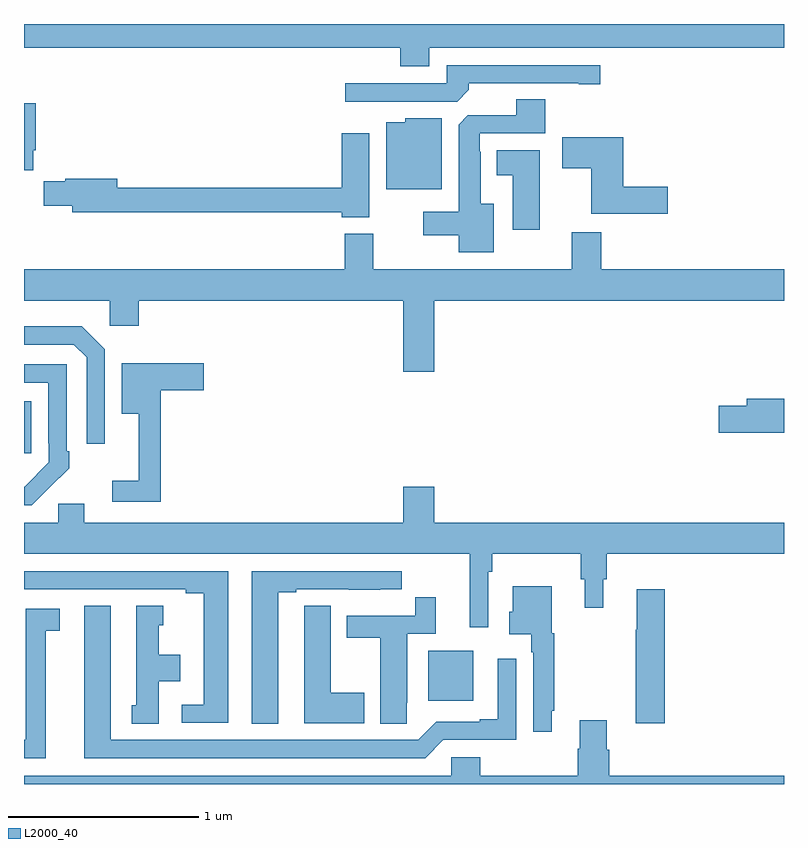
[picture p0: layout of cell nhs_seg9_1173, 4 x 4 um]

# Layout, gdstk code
import gdstk
lib = gdstk.Library(unit=1e-6, precision=1e-09)
def R(c, l, rs):  # rectangles x0, y0, x1, y1
    for r in rs: c.add(gdstk.rectangle(r[:2], r[2:], *l))
def P(c, l, *ps):  # polygons
    for p in ps: c.add(gdstk.Polygon(p, *l))
L2000_40 = (2000, 40)

nhs_seg9_1173 = lib.new_cell('nhs_seg9_1173')
R(nhs_seg9_1173, L2000_40, [(177.128,1236.938,177.364,1237.201), (175,1238.241,175.039,1238.515)])
P(nhs_seg9_1173, L2000_40, [(177.133,1240.376),(179,1240.376),(179,1240.5),(175,1240.5),(175,1240.376),(176.981,1240.376),(176.981,1240.277),(177.133,1240.277)],
  [(177.341,1240.154),(177.341,1240.188),(177.92,1240.188),(177.92,1240.183),(178.033,1240.183),(178.033,1240.284),(177.225,1240.284),(177.225,1240.188),(176.691,1240.188),(176.691,1240.092),(177.279,1240.092)],
  [(177.472,1239.553),(177.403,1239.553),(177.403,1239.827),(177.399,1239.827),(177.399,1239.924),(177.743,1239.924),(177.743,1240.103),(177.59,1240.103),(177.59,1240.02),(177.336,1240.02),(177.287,1239.971),(177.287,1239.511),(177.102,1239.511),(177.102,1239.389),(177.287,1239.389),(177.287,1239.299),(177.472,1239.299)],
  [(175.048,1239.835),(175.061,1239.835),(175.061,1240.084),(175,1240.084),(175,1239.731),(175.048,1239.731)],
  [(177.199,1240.003),(177.006,1240.003),(177.006,1239.982),(176.906,1239.982),(176.906,1239.629),(177.199,1239.629)],
  [(176.818,1239.925),(176.672,1239.925),(176.672,1239.638),(175.492,1239.638),(175.492,1239.686),(175.216,1239.686),(175.216,1239.673),(175.105,1239.673),(175.105,1239.544),(175.253,1239.544),(175.253,1239.51),(176.672,1239.51),(176.672,1239.482),(176.818,1239.482)],
  [(178.387,1239.644),(178.154,1239.644),(178.154,1239.904),(177.834,1239.904),(177.834,1239.742),(177.986,1239.742),(177.986,1239.502),(178.387,1239.502)],
  [(177.715,1239.835),(177.488,1239.835),(177.488,1239.704),(177.572,1239.704),(177.572,1239.417),(177.715,1239.417)],
  [(176.687,1239.397),(176.687,1239.208),(175,1239.208),(175,1239.044),(175.452,1239.044),(175.452,1238.913),(175.604,1238.913),(175.604,1239.044),(176.996,1239.044),(176.996,1238.67),(177.16,1238.67),(177.16,1239.044),(179,1239.044),(179,1239.208),(178.037,1239.208),(178.037,1239.403),(177.884,1239.403),(177.884,1239.208),(176.839,1239.208),(176.839,1239.397)],
  [(175.425,1238.787),(175.304,1238.908),(175,1238.908),(175,1238.811),(175.263,1238.811),(175.329,1238.745),(175.329,1238.292),(175.425,1238.292)],
  [(175.721,1238.573),(175.945,1238.573),(175.945,1238.715),(175.514,1238.715),(175.514,1238.45),(175.604,1238.45),(175.604,1238.095),(175.464,1238.095),(175.464,1237.986),(175.721,1237.986)],
  [(175.133,1238.059),(175.134,1238.058),(175.239,1238.163),(175.239,1238.251),(175.224,1238.251),(175.224,1238.709),(175,1238.709),(175,1238.613),(175.128,1238.613),(175.128,1238.293),(175.131,1238.293),(175.131,1238.193),(175.003,1238.065),(175,1238.065),(175,1237.968),(175.042,1237.968)],
  [(179,1238.528),(178.805,1238.528),(178.805,1238.492),(178.656,1238.492),(178.656,1238.35),(179,1238.35)],
  [(177.444,1237.616),(177.464,1237.616),(177.464,1237.712),(177.931,1237.712),(177.931,1237.578),(177.95,1237.578),(177.95,1237.428),(178.048,1237.428),(178.048,1237.578),(178.067,1237.578),(178.067,1237.712),(179,1237.712),(179,1237.876),(177.16,1237.876),(177.16,1238.065),(176.996,1238.065),(176.996,1237.876),(175.318,1237.876),(175.318,1237.974),(175.179,1237.974),(175.179,1237.876),(175,1237.876),(175,1237.712),(177.347,1237.712),(177.347,1237.326),(177.444,1237.326)],
  [(176.338,1237.509),(176.434,1237.509),(176.434,1237.524),(176.71,1237.524),(176.71,1237.523),(176.876,1237.523),(176.876,1237.524),(176.989,1237.524),(176.989,1237.62),(176.198,1237.62),(176.198,1236.817),(176.338,1236.817)],
  [(176.074,1237.62),(175,1237.62),(175,1237.524),(175.85,1237.524),(175.85,1237.504),(175.946,1237.504),(175.946,1236.918),(175.83,1236.918),(175.83,1236.822),(176.074,1236.822)],
  [(177.778,1236.886),(177.79,1236.886),(177.79,1237.293),(177.778,1237.293),(177.778,1237.54),(177.572,1237.54),(177.572,1237.407),(177.554,1237.407),(177.554,1237.289),(177.669,1237.289),(177.669,1237.193),(177.681,1237.193),(177.681,1236.774),(177.778,1236.774)],
  [(178.373,1237.525),(178.226,1237.525),(178.226,1237.312),(178.219,1237.312),(178.219,1236.819),(178.373,1236.819)],
  [(177.015,1236.928),(177.016,1236.928),(177.016,1237.29),(177.167,1237.29),(177.167,1237.483),(177.058,1237.483),(177.058,1237.386),(176.699,1237.386),(176.699,1237.27),(176.876,1237.27),(176.876,1236.817),(177.015,1236.817)],
  [(176.791,1236.981),(176.614,1236.981),(176.614,1237.439),(176.475,1237.439),(176.475,1237.331),(176.474,1237.331),(176.474,1236.821),(176.791,1236.821)],
  [(175.708,1237.04),(175.822,1237.04),(175.822,1237.18),(175.708,1237.18),(175.708,1237.335),(175.732,1237.335),(175.732,1237.438),(175.592,1237.438),(175.592,1236.915),(175.568,1236.915),(175.568,1236.817),(175.708,1236.817)],
  [(177.207,1236.732),(177.591,1236.732),(177.591,1237.159),(177.494,1237.159),(177.494,1236.841),(177.398,1236.841),(177.398,1236.828),(177.171,1236.828),(177.075,1236.732),(175.456,1236.732),(175.456,1237.438),(175.316,1237.438),(175.316,1236.636),(177.111,1236.636)],
  [(175.114,1237.306),(175.189,1237.306),(175.189,1237.422),(175.01,1237.422),(175.01,1236.732),(175,1236.732),(175,1236.636),(175.114,1236.636)],
  [(179,1236.544),(178.079,1236.544),(178.079,1236.681),(178.066,1236.681),(178.066,1236.835),(177.926,1236.835),(177.926,1236.686),(177.914,1236.686),(177.914,1236.544),(177.401,1236.544),(177.401,1236.642),(177.249,1236.642),(177.249,1236.544),(175,1236.544),(175,1236.5),(179,1236.5)])

lib.write_gds('nhs_seg9_1173.gds')
